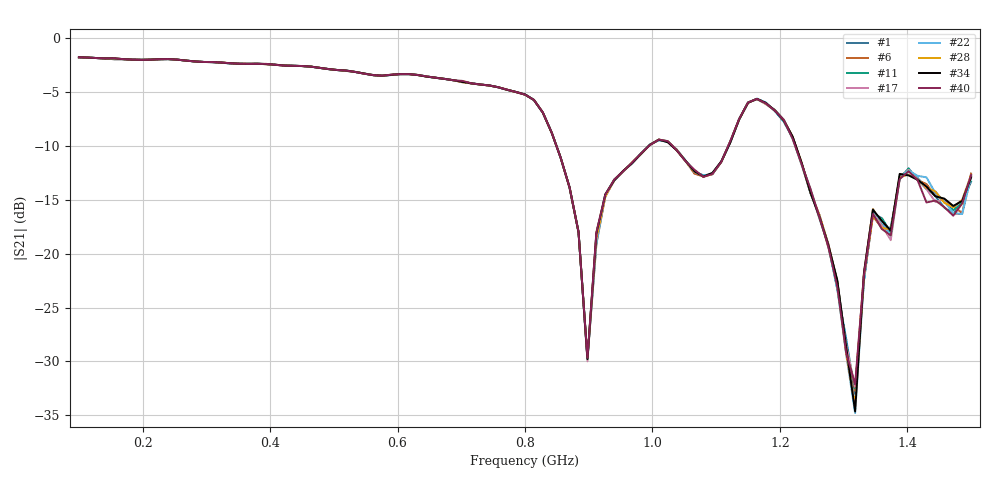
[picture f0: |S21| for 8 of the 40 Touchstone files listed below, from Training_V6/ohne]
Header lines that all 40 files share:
! NanoVNA-App
! Start: 100MHz Stop: 1,5GHz Points: 101
! S-Parameter data: F S11 S21 S12 S22
# Hz S RI R 50
!  Frequency  S11_Real  S11_Imag  S21_Real  S21_Imag  S12_Real  S12_Imag  S22_Real  S22_Imag
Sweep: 100 MHz to 1.5 GHz
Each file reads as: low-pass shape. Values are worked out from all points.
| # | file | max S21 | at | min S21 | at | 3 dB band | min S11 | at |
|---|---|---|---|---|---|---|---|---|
| 1 | ohne (801).s2p | -1.79 dB | 100 MHz | -33.0 dB | 1.318 GHz | 100 MHz-758 MHz | -41.0 dB | 716 MHz |
| 2 | ohne (802).s2p | -1.79 dB | 100 MHz | -31.8 dB | 1.318 GHz | 100 MHz-758 MHz | -41.2 dB | 716 MHz |
| 3 | ohne (803).s2p | -1.79 dB | 100 MHz | -33.1 dB | 1.318 GHz | 100 MHz-758 MHz | -40.1 dB | 716 MHz |
| 4 | ohne (804).s2p | -1.79 dB | 100 MHz | -32.7 dB | 1.318 GHz | 100 MHz-772 MHz | -40.1 dB | 716 MHz |
| 5 | ohne (805).s2p | -1.79 dB | 100 MHz | -36.0 dB | 1.318 GHz | 100 MHz-758 MHz | -40.8 dB | 716 MHz |
| 6 | ohne (806).s2p | -1.79 dB | 100 MHz | -32.7 dB | 1.318 GHz | 100 MHz-758 MHz | -40.9 dB | 716 MHz |
| 7 | ohne (807).s2p | -1.79 dB | 100 MHz | -35.9 dB | 1.318 GHz | 100 MHz-758 MHz | -41.3 dB | 716 MHz |
| 8 | ohne (808).s2p | -1.79 dB | 100 MHz | -34.0 dB | 1.318 GHz | 100 MHz-758 MHz | -40.5 dB | 716 MHz |
| 9 | ohne (809).s2p | -1.79 dB | 100 MHz | -31.9 dB | 1.318 GHz | 100 MHz-758 MHz | -41.2 dB | 716 MHz |
| 10 | ohne (810).s2p | -1.79 dB | 100 MHz | -32.0 dB | 1.318 GHz | 100 MHz-758 MHz | -41.4 dB | 716 MHz |
| 11 | ohne (811).s2p | -1.79 dB | 100 MHz | -32.5 dB | 1.318 GHz | 100 MHz-758 MHz | -39.9 dB | 716 MHz |
| 12 | ohne (812).s2p | -1.79 dB | 100 MHz | -31.4 dB | 1.318 GHz | 100 MHz-758 MHz | -41.4 dB | 716 MHz |
| 13 | ohne (813).s2p | -1.79 dB | 100 MHz | -35.3 dB | 1.318 GHz | 100 MHz-758 MHz | -41.2 dB | 716 MHz |
| 14 | ohne (814).s2p | -1.79 dB | 100 MHz | -32.5 dB | 1.318 GHz | 100 MHz-758 MHz | -40.4 dB | 716 MHz |
| 15 | ohne (815).s2p | -1.79 dB | 100 MHz | -33.7 dB | 1.318 GHz | 100 MHz-758 MHz | -40.1 dB | 716 MHz |
| 16 | ohne (816).s2p | -1.79 dB | 100 MHz | -31.8 dB | 1.318 GHz | 100 MHz-758 MHz | -40.4 dB | 716 MHz |
| 17 | ohne (817).s2p | -1.79 dB | 100 MHz | -32.4 dB | 1.318 GHz | 100 MHz-758 MHz | -40.2 dB | 716 MHz |
| 18 | ohne (818).s2p | -1.79 dB | 100 MHz | -33.9 dB | 1.318 GHz | 100 MHz-758 MHz | -41.0 dB | 716 MHz |
| 19 | ohne (819).s2p | -1.79 dB | 100 MHz | -34.3 dB | 1.318 GHz | 100 MHz-758 MHz | -40.3 dB | 716 MHz |
| 20 | ohne (820).s2p | -1.79 dB | 100 MHz | -33.0 dB | 1.318 GHz | 100 MHz-758 MHz | -40.9 dB | 716 MHz |
| 21 | ohne (821).s2p | -1.79 dB | 100 MHz | -33.9 dB | 1.318 GHz | 100 MHz-772 MHz | -41.2 dB | 716 MHz |
| 22 | ohne (822).s2p | -1.79 dB | 100 MHz | -34.8 dB | 1.318 GHz | 100 MHz-758 MHz | -40.3 dB | 716 MHz |
| 23 | ohne (823).s2p | -1.79 dB | 100 MHz | -34.7 dB | 1.318 GHz | 100 MHz-758 MHz | -40.1 dB | 716 MHz |
| 24 | ohne (824).s2p | -1.79 dB | 100 MHz | -32.0 dB | 1.318 GHz | 100 MHz-758 MHz | -40.0 dB | 716 MHz |
| 25 | ohne (825).s2p | -1.79 dB | 100 MHz | -32.8 dB | 1.318 GHz | 100 MHz-758 MHz | -40.5 dB | 716 MHz |
| 26 | ohne (826).s2p | -1.79 dB | 100 MHz | -30.9 dB | 1.318 GHz | 100 MHz-772 MHz | -41.3 dB | 716 MHz |
| 27 | ohne (827).s2p | -1.79 dB | 100 MHz | -31.4 dB | 1.318 GHz | 100 MHz-758 MHz | -40.6 dB | 716 MHz |
| 28 | ohne (828).s2p | -1.79 dB | 100 MHz | -34.1 dB | 1.318 GHz | 100 MHz-758 MHz | -40.5 dB | 716 MHz |
| 29 | ohne (829).s2p | -1.79 dB | 100 MHz | -31.9 dB | 1.318 GHz | 100 MHz-758 MHz | -40.2 dB | 716 MHz |
| 30 | ohne (830).s2p | -1.79 dB | 100 MHz | -32.0 dB | 1.318 GHz | 100 MHz-758 MHz | -40.6 dB | 716 MHz |
| 31 | ohne (831).s2p | -1.79 dB | 100 MHz | -34.5 dB | 1.318 GHz | 100 MHz-772 MHz | -41.1 dB | 716 MHz |
| 32 | ohne (832).s2p | -1.79 dB | 100 MHz | -32.8 dB | 1.318 GHz | 100 MHz-758 MHz | -40.3 dB | 716 MHz |
| 33 | ohne (833).s2p | -1.79 dB | 100 MHz | -32.0 dB | 1.318 GHz | 100 MHz-758 MHz | -40.0 dB | 716 MHz |
| 34 | ohne (834).s2p | -1.79 dB | 100 MHz | -34.6 dB | 1.318 GHz | 100 MHz-758 MHz | -40.3 dB | 716 MHz |
| 35 | ohne (835).s2p | -1.79 dB | 100 MHz | -32.5 dB | 1.318 GHz | 100 MHz-758 MHz | -40.6 dB | 716 MHz |
| 36 | ohne (836).s2p | -1.79 dB | 100 MHz | -32.7 dB | 1.318 GHz | 100 MHz-772 MHz | -40.4 dB | 716 MHz |
| 37 | ohne (837).s2p | -1.79 dB | 100 MHz | -32.1 dB | 1.318 GHz | 100 MHz-758 MHz | -40.1 dB | 716 MHz |
| 38 | ohne (838).s2p | -1.79 dB | 100 MHz | -33.0 dB | 1.318 GHz | 100 MHz-758 MHz | -40.4 dB | 716 MHz |
| 39 | ohne (839).s2p | -1.79 dB | 100 MHz | -32.9 dB | 1.318 GHz | 100 MHz-758 MHz | -40.6 dB | 716 MHz |
| 40 | ohne (840).s2p | -1.79 dB | 100 MHz | -32.1 dB | 1.318 GHz | 100 MHz-758 MHz | -40.2 dB | 716 MHz |
